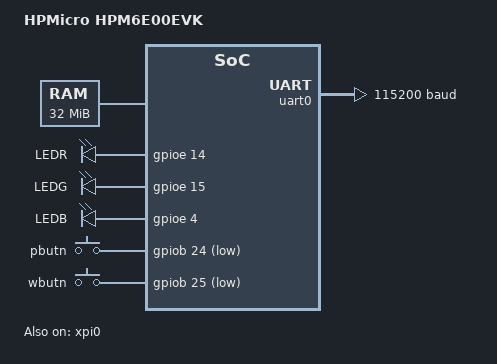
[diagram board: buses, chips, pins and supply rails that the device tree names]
/*
 * Copyright 2025 HPMicro
 * SPDX-License-Identifier: Apache-2.0
 */

/dts-v1/;

#include <hpmicro/hpm6e80.dtsi>
#include "hpm6e00evk-pinctrl.dtsi"
#include <zephyr/dt-bindings/input/input-event-codes.h>

/ {
	model = "HPMicro HPM6E00EVK";
	compatible = "HPMicro,hpm6e00evk";

	aliases {
		led0 = &led_r;
		led1 = &led_g;
		led2 = &led_b;
		sw0 = &pbutn;
		eeprom-0 = &eeprom;
	};

	chosen {
		zephyr,console = &uart0;
		zephyr,shell-uart = &uart0;
		zephyr,sram = &sram;
		zephyr,flash = &flash0;
		zephyr,itcm = &ilm;
		zephyr,dtcm = &dlm;
		zephyr,flash-controller = &xpi0;
	};

	dram: memory@40000000 {
		device_type = "memory";
		reg = <0x40000000 DT_SIZE_M(32)>;
	};

	leds {
		compatible = "gpio-leds";
		led_r: led_r {
			gpios = <&gpioe 14 (GPIO_PULL_DOWN | GPIO_ACTIVE_HIGH)>;
			label = "LEDR";
		};
		led_g: led_g {
			gpios = <&gpioe 15 (GPIO_PULL_DOWN | GPIO_ACTIVE_HIGH)>;
			label = "LEDG";
		};
		led_b: led_b {
			gpios = <&gpioe 4 (GPIO_PULL_DOWN | GPIO_ACTIVE_HIGH)>;
			label = "LEDB";
		};
	};

	gpio_keys {
		compatible = "gpio-keys";
		pbutn: pbutn {
			gpios = <&gpiob 24 (GPIO_PULL_UP | GPIO_ACTIVE_LOW)>;
			zephyr,code = <INPUT_KEY_0>;
		};
		wbutn: wbutn {
			gpios = <&gpiob 25 (GPIO_PULL_UP | GPIO_ACTIVE_LOW)>;
			zephyr,code = <INPUT_KEY_1>;
		};
	};
};

&uart0 {
	status = "okay";
	current-speed = <115200>;
	pinctrl-0 = <&pinmux_uart0>;
	pinctrl-names = "default";
	/*
	 * UART-idle detection plumbing, consumed only by CONFIG_UART_ASYNC_API
	 * (not enabled by this product). The register bases and the GPTMR clock
	 * id below are fixed for HPM6E80 -- the previous values were HPM6750
	 * leftovers (TRGM2/GPTMR4 bases, garbled clock id). The four TRGM
	 * routing numbers are still HPM6750 values: on HPM6E80 output 0x37/0x38
	 * are ADCX_PTRGI1A/1B (ADC preemption triggers!), and the real GPTMR4
	 * targets are IN2=0x74 / IN3=0x75 / SYNCI=0x76 (hpm_trgmmux_src.h).
	 * Redesign the whole route against the HPM6E80 TRGM0 tables before
	 * enabling the async API on this board.
	 */
	uart-idle-trgm-reg = <0xF047C000>;     /* HPM_TRGM0_BASE (only TRGM on HPM6E80) */
	uart-idle-trgm-pin = <115>;            /* HPM6750 leftover, see note above */
	uart-idle-trgm-input-src = <0x0B>;     /* HPM6750 leftover, see note above */
	uart-idle-trgm-output-gptmr-in = <0x38>;   /* HPM6750 leftover, see note above */
	uart-idle-trgm-output-gptmr-sync = <0x37>; /* HPM6750 leftover, see note above */
	uart-idle-gptmr-reg = <0xF0010000>;    /* HPM_GPTMR4_BASE */
	uart-idle-gptmr-clock-name = <17629197>; /* CLOCK_GPTMR4 (dt-bindings hpm6e80-clocks.h) */
	dmas = <&hdma 0 8>, <&hdma 1 9>;
	dma-names = "rx", "tx";
};

&gpioa {
	pinctrl-0 = <&pinmux_gpioa>;
	pinctrl-names = "default";
	status = "okay";
};

&gpiob {
	pinctrl-0 = <&pinmux_gpiob>;
	pinctrl-names = "default";
	status = "okay";
};

&gpioe {
	pinctrl-0 = <&pinmux_gpioe>;
	pinctrl-names = "default";
	status = "okay";
};

&gpiof {
	pinctrl-0 = <&pinmux_gpiof>;
	pinctrl-names = "default";
	status = "okay";
};

&gpioz {
	pinctrl-0 = <&pinmux_gpioz>;
	pinctrl-names = "default";
	status = "okay";
};

&gpioy {
	pinctrl-0 = <&pinmux_gpioy>;
	pinctrl-names = "default";
	status = "okay";
};

&i2c1 {
	status = "disabled";
	pinctrl-0 = <&pinmux_i2c1>;
	pinctrl-names = "default";

	eeprom: eeprom@50 {
		compatible = "atmel,at24";
		status = "disabled";
		reg = <0x50>;
		size = <16384>;
		address-width = <16>;
		timeout = <25>;
		pagesize = <64>;
	};
};
&spi7 {
	status = "disabled";
	pinctrl-0 = <&pinmux_spi7>;
	pinctrl-names = "default";
	cs-gpios = <&gpiof 27 GPIO_ACTIVE_LOW>;
	/* HDMA channels 0 and 1, muxed to SPI7 RX and TX (hpm_dmamux_src.h:
	 * HPM_DMA_SRC_SPI7_RX=0x22, _TX=0x23). Was 4/5 = SPI2's request ids,
	 * copied from another board's spi node. */
	dmas = <&hdma 0 34>, <&hdma 1 35>;
	dma-names = "rx", "tx";
};
&hdma {
	status = "okay";
};

&xdma {
	status = "okay";
};

&xpi0 {
	status = "okay";
	flash0: flash@0 {
		compatible = "hpmicro,hpmicro-flash", "soc-nv-flash";
		reg = <0x80000000 DT_SIZE_M(16)>;
		status = "okay";
		erase-block-size = <4096>;
		write-block-size = <1>;
		nor-cfg-opt-hdr = <0xfcf90001>;
		nor-cfg-opt-opt0 = <0x05>;
		nor-cfg-opt-opt1 = <0x1000>;

		partitions {
			compatible = "fixed-partitions";
			#address-cells = <1>;
			#size-cells = <1>;
			/*
			 * ROM-native dual image (spec 2026-09-02 v2 §3.1). Each slot is a
			 * complete boot image: EXIP key blob @+0, XPI option @+0x400, ROM
			 * container header @+0x1000, firmware @+0x3000. The last 4 KB
			 * sector of each slot holds the app's slot-state record; the ROM
			 * never hashes it and no EXIP region covers it. OTP word 25 = 8
			 * puts image 1 at 0x200000; storage sits above both.
			 */
			slot0_partition: partition@0 {
				label = "image-0";
				reg = <0x0 0x1c0000>;
			};

			slot1_partition: partition@200000 {
				label = "image-1";
				reg = <0x200000 0x1c0000>;
			};

			storage_partition: partition@3c0000 {
				label = "storage";
				reg = <0x3c0000 0x40000>;
			};
		};
	};
};

&usb0 {
	pinctrl-0 = <&pinmux_usb0>;
	pinctrl-names = "default";
};

zephyr_udc0: &usb0 {
	compatible = "hpmicro,hpm-udc";
	status = "disabled";
};

&eth0 {
    pinctrl-0 = <&pinmux_eth_rgmii>;
    pinctrl-names = "default";
	phy-addr = <2>; /* rtl8211e */
	reset-gpios = <&gpioa 14 GPIO_ACTIVE_LOW>;
    status = "disabled";
};
